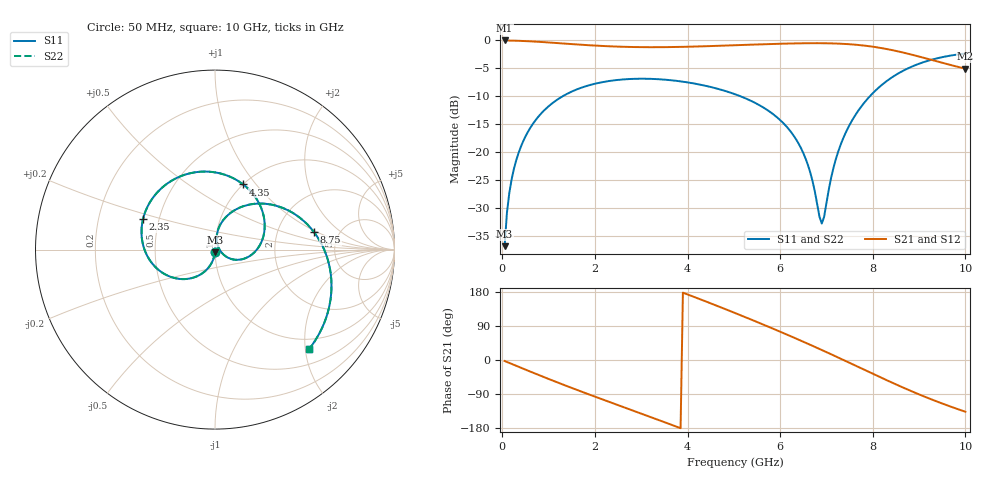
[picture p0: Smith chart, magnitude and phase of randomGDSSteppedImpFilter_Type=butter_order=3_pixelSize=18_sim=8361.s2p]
! freq	dB(S11)	phase(S11)	dB(S12)	phase(S12)
!  dB(S21)	phase(S21)	dB(S22)	phase(S22)
!S-par simulation data
#  GHz  S  DB  R 50
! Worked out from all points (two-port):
!   200 points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, 50 MHz to 10 GHz, reference 50 ohm
!   highest |S21| = -0.01 dB at 50 MHz (marker M1); lowest = -5.1 dB at 10 GHz (marker M2)
!   |S21| within 3 dB of the highest: start of sweep to 9.054 GHz
!   lowest |S11| = -36.9 dB at 50 MHz (marker M3), VSWR 1.03, Z = 49.9 - j1.43 ohm
!   |S11| at or under -10 dB: start of sweep to 1.304 GHz; 5.141 GHz to 7.937 GHz (2.796 GHz wide, 42.8 % of centre)
!   |S22| runs from -36.9 to -2.3 dB; largest |S21 - S12| = 0
!   S11 on the Smith chart (normalised r, x): 50 MHz: 1.00, -0.03; 2.35 GHz: 0.41, +0.17; 4.35 GHz: 1.00, +0.86; 8.75 GHz: 3.25, +0.93; 10 GHz: 0.78, -2.07
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0.05  -36.86 -92.2  -0.01 -2.6  -0.01 -2.6  -36.86 -92.2
0.1  -30.89 -95.0  -0.01 -5.1  -0.01 -5.1  -30.89 -95.0
0.2  -24.94 -100.4  -0.03 -10.2  -0.03 -10.2  -24.94 -100.4
0.5  -17.21 -115.8  -0.12 -25.4  -0.12 -25.4  -17.21 -115.8
1.15  -10.82 -147.9  -0.45 -57.2  -0.45 -57.2  -10.82 -147.9
1.75  -8.35 -176.0  -0.80 -85.3  -0.80 -85.3  -8.35 -175.9
2.35  -7.22 156.9  -1.07 -112.4  -1.07 -112.4  -7.22 157.0
3.4  -6.96 110.1  -1.21 -159.4  -1.21 -159.4  -6.96 110.1
3.9  -7.39 87.4  -1.15 177.7  -1.15 177.7  -7.39 87.4
4.35  -8.06 66.6  -1.05 156.7  -1.05 156.7  -8.06 66.6
5.05  -9.71 33.6  -0.86 122.8  -0.86 122.8  -9.71 33.6
5.9  -13.55 -6.7  -0.62 79.9  -0.62 79.9  -13.55 -6.8
6.4  -18.51 -27.8  -0.52 53.6  -0.52 53.6  -18.51 -28.0
6.7  -25.22 -30.2  -0.49 37.4  -0.49 37.4  -25.25 -30.5
6.9  -32.81 24.2  -0.50 26.4  -0.50 26.4  -32.97 24.2
7.15  -22.86 82.0  -0.54 12.4  -0.54 12.4  -22.88 82.4
7.4  -16.81 77.6  -0.63 -1.8  -0.63 -1.8  -16.81 77.9
7.85  -10.82 56.9  -0.96 -27.6  -0.96 -27.6  -10.82 57.1
8.35  -6.98 30.8  -1.62 -56.0  -1.62 -56.0  -6.98 30.9
8.75  -5.04 10.1  -2.36 -77.8  -2.36 -77.8  -5.04 10.2
9.35  -3.28 -18.8  -3.67 -107.9  -3.67 -107.9  -3.28 -18.8
10  -2.35 -46.7  -5.06 -136.5  -5.06 -136.5  -2.35 -46.6
